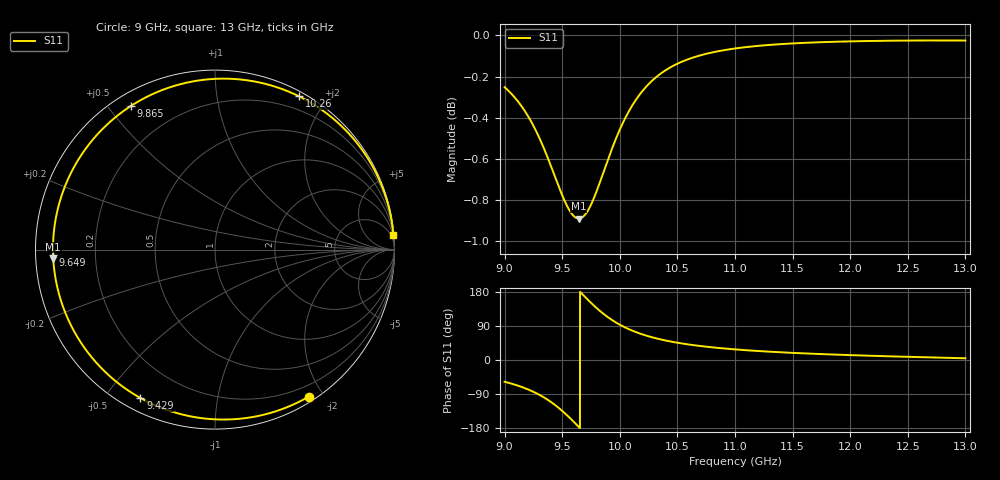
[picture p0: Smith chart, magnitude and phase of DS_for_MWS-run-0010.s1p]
! TOUCHSTONE file generated by CST DESIGN STUDIO
! Date and time: Wed Feb  5 13:42:29 2025
! Project name: C:\Work\MatlabApps\UnitCellOptimizationMatlab\CST\unitcell.cst
! Tree item: Tasks\Sweep1\SPara1\S-Parameters
! Header version: 2024
! Port assignment regex: !\s*Touchstone port\s*([0-9]+)\s*=\s*(CST MWS port|CST DES external port|CST DES block port)\s*(.+)\s* \(\"(.*)\"\)(\s*mode\s*([0-9]+))?.*
! Touchstone port assignment:
! Touchstone port 1 = CST DES external port 1 ("")
# GHz S MA R 50
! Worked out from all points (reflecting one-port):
!   4001 points, 9 GHz to 13 GHz, reference 50 ohm
!   lowest |S11| = -0.9 dB at 9.644 GHz (marker M1), VSWR 19.54, Z = 2.56 - j1.44 ohm
!   phase of S11 starts at -57 deg and turns -298 deg over the sweep
!   S11 on the Smith chart (normalised r, x): 9 GHz: 0.06, -1.82; 9.429 GHz: 0.05, -0.62; 9.649 GHz: 0.05, -0.02; 9.865 GHz: 0.05, +0.57; 10.26 GHz: 0.05, +1.69; 13 GHz: 1, +25
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9  0.9715 -57.5
9.109  0.9643 -67.0
9.218  0.9543 -79.5
9.335  0.9396 -97.6
9.384  0.9323 -107.0
9.429  0.9253 -116.7
9.5  0.9144 -134.2
9.538  0.9095 -144.7
9.578  0.9054 -156.4
9.612  0.9033 -166.7
9.644  0.9026 -176.7
9.649  0.9026 -178.3
9.694  0.9042 167.7
9.742  0.9087 153.2
9.804  0.9173 135.6
9.865  0.9274 120.2
9.929  0.9381 106.2
10  0.9487 93.2
10.126  0.9633 75.3
10.264  0.974 61.3
10.374  0.9797 53.0
10.5  0.9843 45.6
10.719  0.9893 36.2
11  0.9927 28.0
11.5  0.9955 18.8
12  0.9967 12.9
12.5  0.9971 8.4
13  0.9971 4.6
